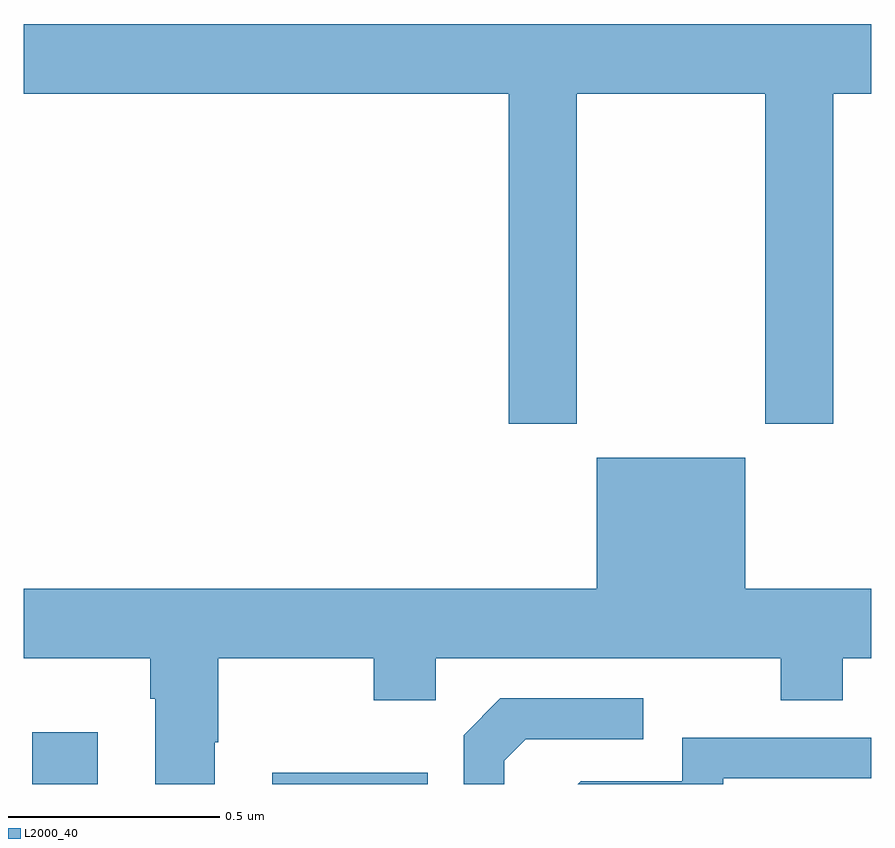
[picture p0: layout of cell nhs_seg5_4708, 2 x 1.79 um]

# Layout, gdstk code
import gdstk
lib = gdstk.Library(unit=1e-6, precision=1e-09)
def R(c, l, rs):  # rectangles x0, y0, x1, y1
    for r in rs: c.add(gdstk.rectangle(r[:2], r[2:], *l))
def P(c, l, *ps):  # polygons
    for p in ps: c.add(gdstk.Polygon(p, *l))
L2000_40 = (2000, 40)

nhs_seg5_4708 = lib.new_cell('nhs_seg5_4708')
R(nhs_seg5_4708, L2000_40, [(174.02,853.799,174.175,853.921), (174.587,853.799,174.953,853.825)])
P(nhs_seg5_4708, L2000_40, [(175.305,855.428),(175.75,855.428),(175.75,854.649),(175.91,854.649),(175.91,855.428),(176,855.428),(176,855.592),(174,855.592),(174,855.428),(175.145,855.428),(175.145,854.649),(175.305,854.649)],
  [(174.451,853.897),(174.459,853.897),(174.459,854.096),(174.826,854.096),(174.826,853.997),(174.972,853.997),(174.972,854.096),(175.786,854.096),(175.786,853.997),(175.933,853.997),(175.933,854.096),(176,854.096),(176,854.26),(175.702,854.26),(175.702,854.569),(175.352,854.569),(175.352,854.26),(174,854.26),(174,854.096),(174.299,854.096),(174.299,854),(174.311,854),(174.311,853.799),(174.451,853.799)],
  [(175.134,853.854),(175.185,853.905),(175.462,853.905),(175.462,854.001),(175.125,854.001),(175.038,853.914),(175.038,853.799),(175.134,853.799)],
  [(175.65,853.812),(176,853.812),(176,853.908),(175.554,853.908),(175.554,853.806),(175.314,853.806),(175.307,853.799),(175.65,853.799)])

lib.write_gds('nhs_seg5_4708.gds')
